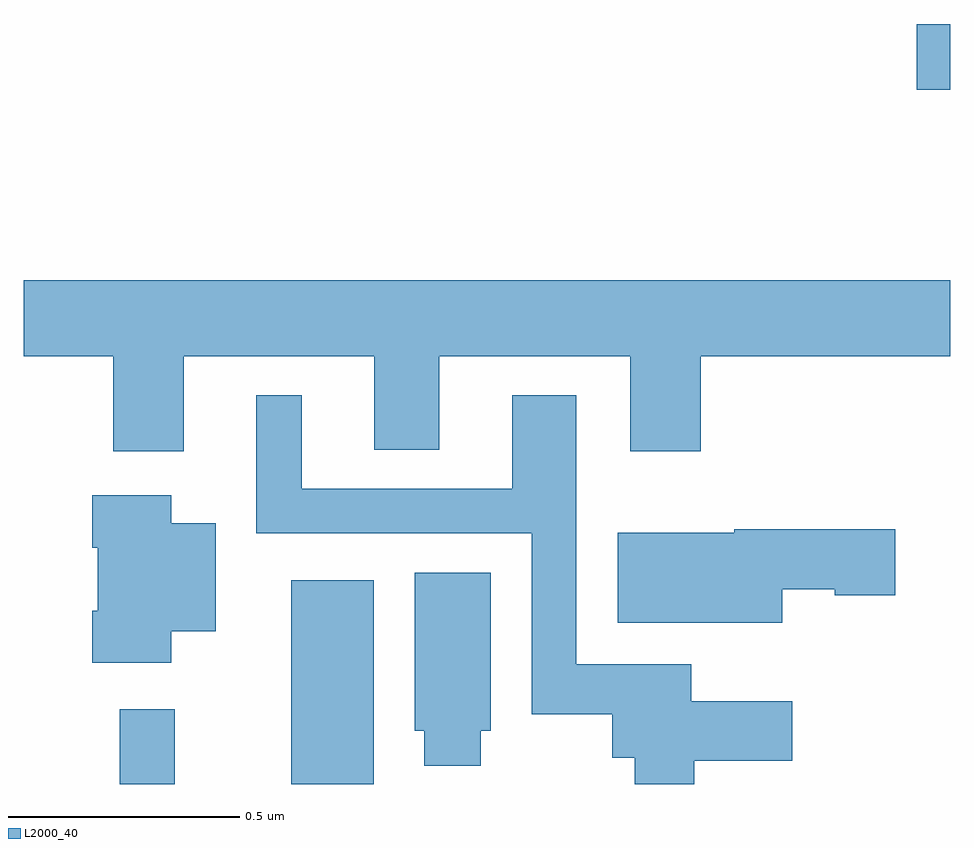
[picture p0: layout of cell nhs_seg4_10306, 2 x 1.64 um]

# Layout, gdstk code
import gdstk
lib = gdstk.Library(unit=1e-6, precision=1e-09)
def R(c, l, rs):  # rectangles x0, y0, x1, y1
    for r in rs: c.add(gdstk.rectangle(r[:2], r[2:], *l))
def P(c, l, *ps):  # polygons
    for p in ps: c.add(gdstk.Polygon(p, *l))
L2000_40 = (2000, 40)

nhs_seg4_10306 = lib.new_cell('nhs_seg4_10306')
R(nhs_seg4_10306, L2000_40, [(238.207,791.9,238.326,792.061), (238.577,791.9,238.756,792.34), (239.928,793.399,240,793.541)])
P(nhs_seg4_10306, L2000_40, [(238.345,792.824),(238.757,792.824),(238.757,792.622),(238.897,792.622),(238.897,792.824),(239.309,792.824),(239.309,792.618),(239.462,792.618),(239.462,792.824),(240,792.824),(240,792.988),(238,792.988),(238,792.824),(238.193,792.824),(238.193,792.618),(238.345,792.618)],
  [(239.447,791.95),(239.659,791.95),(239.659,792.079),(239.441,792.079),(239.441,792.159),(239.193,792.159),(239.193,792.739),(239.054,792.739),(239.054,792.537),(238.6,792.537),(238.6,792.739),(238.502,792.739),(238.502,792.441),(239.097,792.441),(239.097,792.051),(239.27,792.051),(239.27,791.957),(239.319,791.957),(239.319,791.9),(239.447,791.9)],
  [(238.318,792.23),(238.414,792.23),(238.414,792.463),(238.318,792.463),(238.318,792.523),(238.148,792.523),(238.148,792.41),(238.16,792.41),(238.16,792.274),(238.148,792.274),(238.148,792.162),(238.318,792.162)],
  [(239.638,792.32),(239.751,792.32),(239.751,792.308),(239.881,792.308),(239.881,792.45),(239.534,792.45),(239.534,792.442),(239.282,792.442),(239.282,792.248),(239.638,792.248)],
  [(238.987,792.015),(239.008,792.015),(239.008,792.356),(238.844,792.356),(238.844,792.015),(238.865,792.015),(238.865,791.939),(238.987,791.939)])

lib.write_gds('nhs_seg4_10306.gds')
